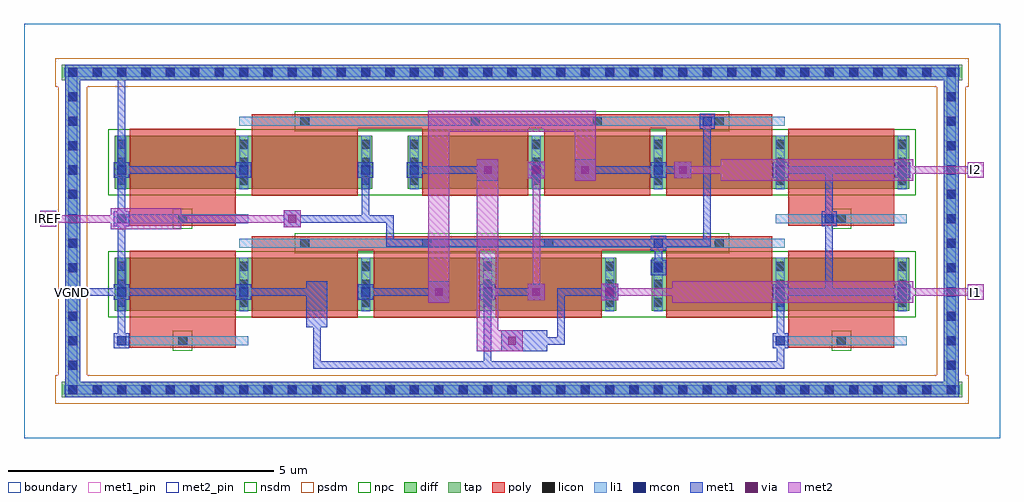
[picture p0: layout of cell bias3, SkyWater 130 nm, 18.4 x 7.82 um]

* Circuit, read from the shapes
.subckt bias3 I1 I2 IREF VGND
XM1 VGND VGND VGND VGND sky130_fd_pr__nfet_01v8 w=1 l=2 m=4
XM2 I2 IREF VGND VGND sky130_fd_pr__nfet_01v8 w=1 l=2 m=4
XM3 IREF IREF VGND VGND sky130_fd_pr__nfet_01v8 w=1 l=2 m=2
XM4 VGND IREF I1 VGND sky130_fd_pr__nfet_01v8 w=1 l=2 m=2
.ends

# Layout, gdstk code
import gdstk
lib = gdstk.Library(unit=1e-6, precision=1e-09)
def R(c, l, rs):  # rectangles x0, y0, x1, y1
    for r in rs: c.add(gdstk.rectangle(r[:2], r[2:], *l))
def A(c, l, x, y, w, h, nx, ny, dx, dy):  # array of equal rectangles
    R(c, l, [(x+i*dx, y+j*dy, x+i*dx+w, y+j*dy+h) for i in range(nx) for j in range(ny)])
diff = (65, 20)
tap = (65, 44)
poly = (66, 20)
licon = (66, 44)
li1 = (67, 20)
mcon = (67, 44)
met1_pin = (68, 16)
met1 = (68, 20)
via = (68, 44)
met2_pin = (69, 16)
met2 = (69, 20)
nsdm = (93, 44)
psdm = (94, 20)
npc = (95, 20)
boundary = (235, 4)

bias3 = lib.new_cell('bias3')
R(bias3, diff, [(1.715,2.405,11.165,3.405), (11.835,2.405,16.685,3.405), (1.715,4.705,6.565,5.705), (7.235,4.705,16.685,5.705)])
R(bias3, tap, [(0.715,0.775,17.685,1.065), (0.775,0.775,1.065,7.045), (17.335,0.775,17.625,7.045), (0.715,6.755,17.685,7.045)])
A(bias3, poly, 4.29, 2.275, 2, 1.405, 3, 1, 2.3, 0)
A(bias3, poly, 7.51, 4.575, 2, 1.405, 3, 1, 2.3, 0)
R(bias3, poly, [(1.99,1.705,3.99,1.975), (14.41,1.705,16.41,1.975), (1.99,1.84,3.99,3.535), (14.41,1.84,16.41,3.535), (12.11,2.275,14.11,3.68), (4.29,3.545,14.11,3.815), (1.99,4.005,3.99,4.275), (14.41,4.005,16.41,4.275), (1.99,4.14,3.99,5.835), (14.41,4.14,16.41,5.835), (4.29,4.575,6.29,5.98), (4.29,5.845,14.11,6.115)])
A(bias3, licon, 0.835, 0.835, 0.17, 0.17, 37, 2, 0.46, 5.98)
A(bias3, licon, 0.835, 1.295, 0.17, 0.17, 1, 12, 0, 0.46)
A(bias3, licon, 17.395, 1.295, 0.17, 0.17, 1, 12, 0, 0.46)
A(bias3, licon, 1.755, 2.48, 0.17, 0.17, 5, 3, 2.3, 0.34)
A(bias3, licon, 11.875, 2.48, 0.17, 0.17, 3, 3, 2.3, 0.34)
A(bias3, licon, 5.205, 3.595, 0.17, 0.17, 3, 1, 2.3, 0)
A(bias3, licon, 1.755, 4.78, 0.17, 0.17, 3, 3, 2.3, 0.34)
A(bias3, licon, 7.275, 4.78, 0.17, 0.17, 5, 3, 2.3, 0.34)
A(bias3, licon, 8.425, 5.895, 0.17, 0.17, 3, 1, 2.3, 0)
R(bias3, licon, [(2.905,1.755,3.075,1.925), (15.325,1.755,15.495,1.925), (13.025,3.595,13.195,3.765), (2.905,4.055,3.075,4.225), (15.325,4.055,15.495,4.225), (5.205,5.895,5.375,6.065)])
A(bias3, li1, 1.755, 2.4, 0.17, 1.01, 5, 1, 2.3, 0)
A(bias3, li1, 11.875, 2.4, 0.17, 1.01, 3, 1, 2.3, 0)
A(bias3, li1, 1.755, 4.7, 0.17, 1.01, 3, 1, 2.3, 0)
A(bias3, li1, 7.275, 4.7, 0.17, 1.01, 5, 1, 2.3, 0)
R(bias3, li1, [(0.755,0.835,17.645,1.005), (0.835,0.835,1.005,6.985), (17.395,0.835,17.565,6.985), (1.755,1.755,4.225,1.925), (14.175,1.755,16.645,1.925), (4.055,3.595,14.345,3.765), (1.755,4.055,4.225,4.225), (14.175,4.055,16.645,4.225), (4.055,5.895,14.345,6.065), (0.755,6.815,17.645,6.985)])
A(bias3, mcon, 0.835, 0.835, 0.17, 0.17, 37, 2, 0.46, 5.98)
A(bias3, mcon, 0.835, 1.295, 0.17, 0.17, 1, 12, 0, 0.46)
A(bias3, mcon, 17.395, 1.295, 0.17, 0.17, 1, 12, 0, 0.46)
A(bias3, mcon, 1.755, 2.675, 0.17, 0.17, 5, 1, 2.3, 0)
A(bias3, mcon, 1.755, 4.975, 0.17, 0.17, 3, 1, 2.3, 0)
A(bias3, mcon, 7.275, 4.975, 0.17, 0.17, 5, 1, 2.3, 0)
R(bias3, mcon, [(1.755,1.755,1.925,1.925), (14.175,1.755,14.345,1.925), (14.175,2.675,14.345,2.845), (16.475,2.675,16.645,2.845), (11.875,3.135,12.045,3.305), (11.875,3.595,12.045,3.765), (1.755,4.055,1.925,4.225), (15.095,4.055,15.265,4.225), (12.795,5.895,12.965,6.065)])
R(bias3, met1_pin, [(0.85,2.69,0.99,2.83)])
A(bias3, met1, 1.695, 2.615, 0.29, 0.29, 5, 1, 2.3, 0)
A(bias3, met1, 1.695, 4.915, 0.29, 0.29, 3, 1, 2.3, 0)
A(bias3, met1, 7.215, 4.915, 0.29, 0.29, 5, 1, 2.3, 0)
R(bias3, met1, [(0.775,0.775,17.625,1.065), (0.775,0.775,1.065,7.045), (17.335,0.775,17.625,7.045), (5.45,1.31,5.59,2.37), (5.45,1.31,8.81,1.45), (8.67,1.31,8.81,2.83), (8.67,1.31,14.33,1.45), (14.19,1.31,14.33,1.91), (9,1.64,9.86,2.04), (9,1.64,9.4,2.04), (1.695,1.695,1.985,1.985), (14.115,1.695,14.405,1.985), (1.77,1.77,1.91,2.83), (9.59,1.77,10.19,1.91), (10.05,1.77,10.19,2.83), (14.19,1.77,14.33,2.83), (5.32,2.1,5.72,2.96), (7.62,2.56,8.02,2.96), (9.5,2.6,9.82,2.92), (10.88,2.6,11.2,2.92), (14.115,2.615,14.405,2.905), (16.415,2.615,16.705,2.905), (0.85,2.69,0.99,2.83), (0.85,2.69,1.91,2.83), (1.77,2.69,1.91,4.21), (1.77,2.69,4.21,2.83), (4.07,2.69,5.59,2.83), (6.37,2.69,7.89,2.83), (8.67,2.69,9.73,2.83), (10.05,2.69,11.11,2.83), (14.19,2.69,16.63,2.83), (15.11,2.69,15.25,4.21), (11.815,3.075,12.105,3.365), (11.89,3.15,12.03,3.75), (11.815,3.535,12.105,3.825), (6.83,3.61,6.97,4.21), (6.83,3.61,12.03,3.75), (11.89,3.61,12.95,3.75), (12.81,3.61,12.95,6.05), (4.9,3.98,5.22,4.3), (1.695,3.995,1.985,4.285), (15.035,3.995,15.325,4.285), (1.77,4.07,1.91,5.13), (4.99,4.07,6.51,4.21), (6.37,4.07,6.51,5.13), (6.37,4.07,6.97,4.21), (15.11,4.07,15.25,5.13), (8.54,4.86,8.94,5.26), (10.38,4.86,10.78,5.26), (9.5,4.9,9.82,5.22), (12.26,4.9,12.58,5.22), (1.77,4.99,1.91,6.97), (1.77,4.99,4.21,5.13), (7.29,4.99,8.81,5.13), (10.51,4.99,12.03,5.13), (11.89,4.99,12.49,5.13), (14.19,4.99,15.25,5.13), (15.11,4.99,16.63,5.13), (12.735,5.835,13.025,6.125), (0.775,6.755,17.625,7.045), (1.77,6.83,1.91,6.97)])
A(bias3, via, 8.665, 4.985, 0.15, 0.15, 3, 1, 0.92, 0)
R(bias3, via, [(9.125,1.765,9.275,1.915), (7.745,2.685,7.895,2.835), (9.585,2.685,9.735,2.835), (10.965,2.685,11.115,2.835), (4.985,4.065,5.135,4.215), (12.345,4.985,12.495,5.135)])
R(bias3, met2_pin, [(17.79,2.61,18.09,2.91), (0.31,3.99,0.61,4.29), (17.79,4.91,18.09,5.21)])
R(bias3, met2, [(8.54,1.64,9.4,2.04), (8.54,1.64,8.94,5.26), (9,1.64,9.4,2.04), (7.62,2.56,8.02,2.96), (7.62,2.56,8.02,6.18), (12.22,2.56,16.76,2.96), (9.5,2.6,9.82,2.92), (10.88,2.6,11.2,2.92), (17.79,2.61,18.09,2.91), (9.59,2.69,9.73,5.13), (10.97,2.69,12.49,2.83), (16.49,2.69,18.01,2.83), (17.87,2.69,18.01,2.83), (1.64,3.94,2.96,4.34), (4.9,3.98,5.22,4.3), (0.31,3.99,0.61,4.29), (0.39,4.07,0.53,4.21), (0.39,4.07,1.91,4.21), (2.69,4.07,5.13,4.21), (8.54,4.86,8.94,5.26), (10.38,4.86,10.78,5.26), (10.38,4.86,10.78,6.18), (13.14,4.86,16.76,5.26), (9.5,4.9,9.82,5.22), (12.26,4.9,12.58,5.22), (17.79,4.91,18.09,5.21), (12.35,4.99,13.41,5.13), (16.49,4.99,18.01,5.13), (17.87,4.99,18.01,5.13), (7.62,5.78,10.78,6.18)])
R(bias3, nsdm, [(1.59,2.28,16.81,3.53), (1.59,4.58,16.81,5.83)])
R(bias3, psdm, [(0.59,0.65,17.81,1.19), (0.65,1.19,1.19,6.63), (17.21,1.19,17.75,6.63), (0.59,6.63,17.81,7.17)])
R(bias3, npc, [(2.805,1.655,3.175,2.025), (15.225,1.655,15.595,2.025), (5.105,3.495,13.295,3.865), (2.805,3.955,3.175,4.325), (15.225,3.955,15.595,4.325), (5.105,5.795,13.295,6.165)])
R(bias3, boundary, [(0,0,18.4,7.82)])
bias3.add(gdstk.Label('VGND', (0.92,2.76), layer=68, texttype=5))
bias3.add(gdstk.Label('IREF', (0.46,4.14), layer=69, texttype=5))
bias3.add(gdstk.Label('I1', (17.94,2.76), layer=69, texttype=5))
bias3.add(gdstk.Label('I2', (17.94,5.06), layer=69, texttype=5))
bias3.add(gdstk.Label('VGND', (0.92,2.76), layer=68, texttype=16))
bias3.add(gdstk.Label('IREF', (0.46,4.14), layer=69, texttype=16))
bias3.add(gdstk.Label('I1', (17.94,2.76), layer=69, texttype=16))
bias3.add(gdstk.Label('I2', (17.94,5.06), layer=69, texttype=16))

lib.write_gds('bias3.gds')
